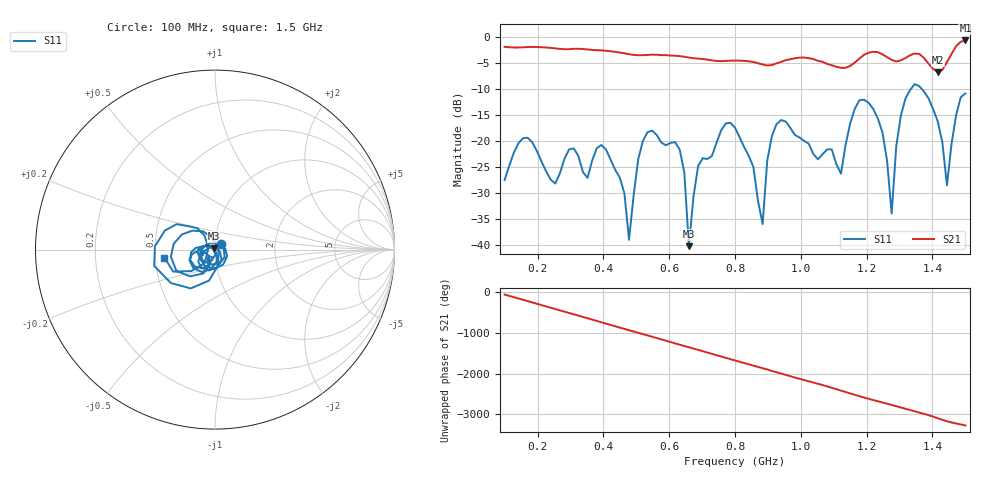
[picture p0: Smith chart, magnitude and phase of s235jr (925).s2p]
! NanoVNA-App
! Date: 2025-09-25 15:11:22
! Start: 100MHz Stop: 1,5GHz Points: 101
! S-Parameter data: F S11 S21 S12 S22
# Hz S RI R 50
!  Frequency  S11_Real  S11_Imag  S21_Real  S21_Imag  S12_Real  S12_Imag  S22_Real  S22_Imag
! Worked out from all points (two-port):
!   101 points, 100 MHz to 1.5 GHz, reference 50 ohm
!   highest |S21| = -0.74 dB at 1.5 GHz (marker M1); lowest = -6.8 dB at 1.416 GHz (marker M2)
!   |S21| within 3 dB of the highest: start of sweep to 631.4 MHz; 1.187 GHz to 1.257 GHz (70.12 MHz wide, 5.74 % of centre) (the widest 2 of 4)
!   lowest |S11| = -40.1 dB at 660 MHz (marker M3), VSWR 1.02, Z = 49.3 + j0.636 ohm
!   |S11| at or under -10 dB: start of sweep to 1.335 GHz; 1.367 GHz to end of sweep
!   S12 and S22 are empty: the file has one direction only
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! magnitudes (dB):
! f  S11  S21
! 100 MHz  -27.5  -2.0
! 156 MHz  -19.5  -2.1
! 338 MHz  -25.9  -2.4
! 408 MHz  -21.6  -2.7
! 478 MHz  -38.9  -3.4
! 520 MHz  -20.0  -3.6
! 576 MHz  -20.3  -3.5
! 632 MHz  -21.7  -3.7
! 660 MHz  -40.1  -4.0
! 688 MHz  -24.8  -4.2
! 800 MHz  -17.4  -4.6
! 884 MHz  -35.9  -5.3
! 926 MHz  -16.8  -5.1
! 1.038 GHz  -22.5  -4.3
! 1.122 GHz  -26.2  -6.0
! 1.206 GHz  -12.7  -3.1
! 1.248 GHz  -18.3  -3.4
! 1.276 GHz  -33.9  -4.5
! 1.318 GHz  -11.9  -4.1
! 1.416 GHz  -16.2  -6.8
! 1.444 GHz  -28.5  -4.9
! 1.5 GHz  -10.9  -0.7
